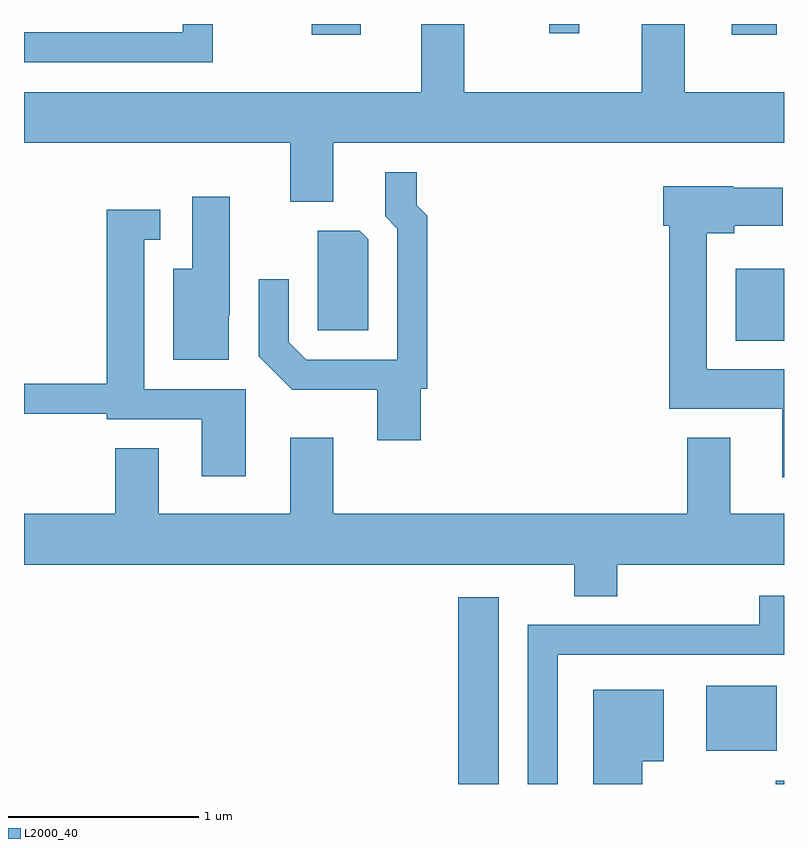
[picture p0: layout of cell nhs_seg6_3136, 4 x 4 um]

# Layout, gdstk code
import gdstk
lib = gdstk.Library(unit=1e-6, precision=1e-09)
def R(c, l, rs):  # rectangles x0, y0, x1, y1
    for r in rs: c.add(gdstk.rectangle(r[:2], r[2:], *l))
def P(c, l, *ps):  # polygons
    for p in ps: c.add(gdstk.Polygon(p, *l))
L2000_40 = (2000, 40)

nhs_seg6_3136 = lib.new_cell('nhs_seg6_3136')
R(nhs_seg6_3136, L2000_40, [(281.896,1602.162,282.109,1603.144), (283.568,1602.162,283.611,1602.179), (283.201,1602.336,283.574,1602.679), (283.356,1604.496,283.611,1604.874), (281.126,1606.106,281.384,1606.162), (283.336,1606.106,283.574,1606.162), (282.376,1606.113,282.534,1606.162)])
P(nhs_seg6_3136, L2000_40, [(280.604,1606.162),(280.446,1606.162),(280.446,1606.119),(279.611,1606.119),(279.611,1605.961),(280.604,1605.961)],
  [(281.239,1605.536),(283.611,1605.536),(283.611,1605.804),(283.089,1605.804),(283.089,1606.162),(282.861,1606.162),(282.861,1605.804),(281.929,1605.804),(281.929,1606.162),(281.701,1606.162),(281.701,1605.804),(279.611,1605.804),(279.611,1605.536),(281.011,1605.536),(281.011,1605.226),(281.239,1605.226)],
  [(281.699,1604.241),(281.734,1604.241),(281.734,1605.152),(281.679,1605.207),(281.679,1605.383),(281.511,1605.383),(281.511,1605.149),(281.576,1605.084),(281.576,1604.394),(281.097,1604.394),(281.004,1604.487),(281.004,1604.818),(280.846,1604.818),(280.846,1604.414),(281.024,1604.236),(281.471,1604.236),(281.471,1603.971),(281.699,1603.971)],
  [(283.611,1604.344),(283.204,1604.344),(283.204,1605.061),(283.349,1605.061),(283.349,1605.101),(283.604,1605.101),(283.604,1605.299),(283.345,1605.299),(283.345,1605.309),(282.976,1605.309),(282.976,1605.101),(283.006,1605.101),(283.006,1604.136),(283.601,1604.136),(283.601,1603.776),(283.611,1603.776)],
  [(280.689,1604.63),(280.694,1604.63),(280.694,1605.254),(280.496,1605.254),(280.496,1604.874),(280.396,1604.874),(280.396,1604.396),(280.689,1604.396)],
  [(280.779,1604.239),(280.244,1604.239),(280.244,1605.026),(280.328,1605.026),(280.328,1605.184),(280.046,1605.184),(280.046,1604.269),(279.611,1604.269),(279.611,1604.111),(280.046,1604.111),(280.046,1604.081),(280.546,1604.081),(280.546,1603.781),(280.779,1603.781)],
  [(281.424,1605.029),(281.379,1605.074),(281.156,1605.074),(281.156,1604.551),(281.424,1604.551)],
  [(282.734,1603.316),(283.611,1603.316),(283.611,1603.584),(283.329,1603.584),(283.329,1603.984),(283.101,1603.984),(283.101,1603.584),(281.239,1603.584),(281.239,1603.984),(281.011,1603.984),(281.011,1603.584),(280.319,1603.584),(280.319,1603.929),(280.091,1603.929),(280.091,1603.584),(279.611,1603.584),(279.611,1603.316),(282.506,1603.316),(282.506,1603.151),(282.734,1603.151)],
  [(282.419,1602.841),(283.611,1602.841),(283.611,1603.154),(283.481,1603.154),(283.481,1602.999),(282.261,1602.999),(282.261,1602.162),(282.419,1602.162)],
  [(282.864,1602.281),(282.979,1602.281),(282.979,1602.659),(282.606,1602.659),(282.606,1602.162),(282.864,1602.162)])

lib.write_gds('nhs_seg6_3136.gds')
